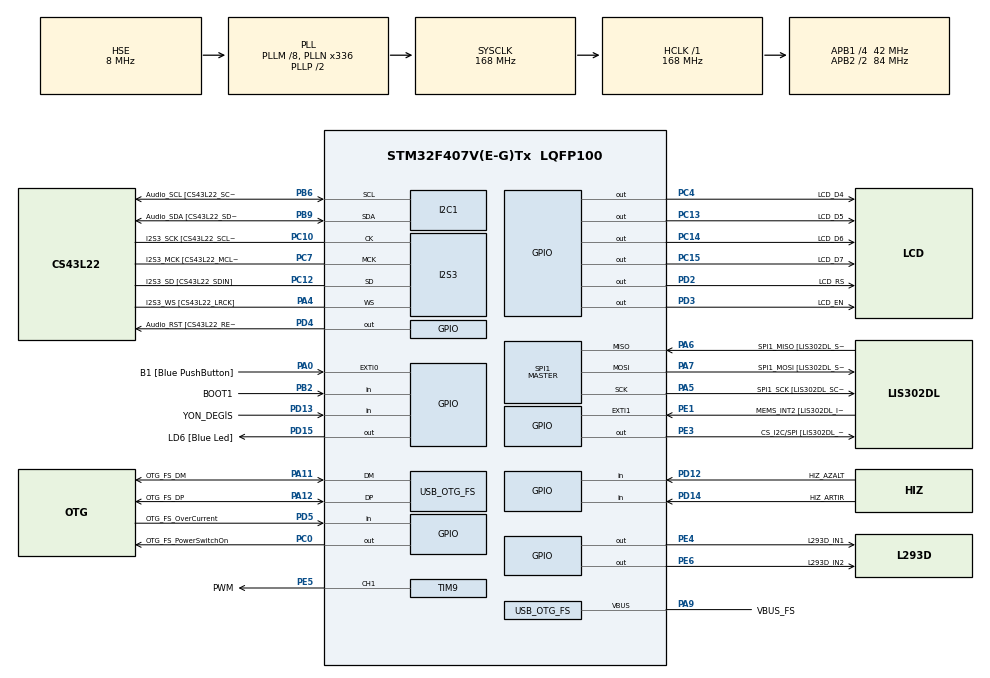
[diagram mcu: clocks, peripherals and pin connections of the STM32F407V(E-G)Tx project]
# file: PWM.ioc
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I2S3.AudioFreq-Half_Duplex_Master=I2S_AUDIOFREQ_96K
I2S3.ErrorAudioFreq=-2.34 %
I2S3.ErrorAudioFreq-Half_Duplex_Master=0.8 %
I2S3.FullDuplexMode=I2S_FULLDUPLEXMODE_DISABLE
I2S3.Instance=SPI$Index
I2S3.RealAudioFreq=93.75 KHz
I2S3.RealAudioFreq-Half_Duplex_Master=96.774 KHz
I2S3.VirtualMode=I2S_MODE_MASTER
Mcu.Family=STM32F4
Mcu.Name=STM32F407V(E-G)Tx
Mcu.Package=LQFP100
NVIC.OTG_FS_IRQn=true\:0\:0\:false\:false\:true\:true\:true\:true
NVIC.PriorityGroup=NVIC_PRIORITYGROUP_0
PA0-WKUP.GPIO_Label=B1 [Blue PushButton]
PA0-WKUP.GPIO_ModeDefaultEXTI=GPIO_MODE_EVT_RISING
PA0-WKUP.GPIO_PuPd=GPIO_NOPULL
PA0-WKUP.Signal=GPXTI0
PA10.GPIO_Label=OTG_FS_ID
PA10.GPIO_Mode=GPIO_MODE_AF_PP
PA10.GPIO_PuPd=GPIO_NOPULL
PA10.GPIO_Speed=GPIO_SPEED_FREQ_LOW
PA10.Signal=USB_OTG_FS_ID
PA11.GPIO_Label=OTG_FS_DM
PA11.GPIO_Mode=GPIO_MODE_AF_PP
PA11.GPIO_PuPd=GPIO_NOPULL
PA11.GPIO_Speed=GPIO_SPEED_FREQ_LOW
PA11.Mode=Host_Only
PA11.Signal=USB_OTG_FS_DM
PA12.GPIO_Label=OTG_FS_DP
PA12.GPIO_Mode=GPIO_MODE_AF_PP
PA12.GPIO_PuPd=GPIO_NOPULL
PA12.GPIO_Speed=GPIO_SPEED_FREQ_LOW
PA12.Mode=Host_Only
PA12.Signal=USB_OTG_FS_DP
PA13.GPIO_Label=SWDIO
PA13.Mode=Serial_Wire
PA13.Signal=SYS_JTMS-SWDIO
PA14.GPIO_Label=SWCLK
PA14.Mode=Serial_Wire
PA14.Signal=SYS_JTCK-SWCLK
PA4.GPIO_Label=I2S3_WS [CS43L22_LRCK]
PA4.GPIO_Mode=GPIO_MODE_AF_PP
PA4.GPIO_PuPd=GPIO_NOPULL
PA4.GPIO_Speed=GPIO_SPEED_FREQ_LOW
PA4.Mode=Half_Duplex_Master
PA4.Signal=I2S3_WS
PA5.GPIO_Label=SPI1_SCK [LIS302DL_SCL/SPC]
PA5.GPIO_Mode=GPIO_MODE_AF_PP
PA5.GPIO_PuPd=GPIO_NOPULL
PA5.GPIO_Speed=GPIO_SPEED_FREQ_LOW
PA5.Mode=Full_Duplex_Master
PA5.Signal=SPI1_SCK
PA6.GPIO_Label=SPI1_MISO [LIS302DL_SDO]
PA6.GPIO_Mode=GPIO_MODE_AF_PP
PA6.GPIO_PuPd=GPIO_NOPULL
PA6.GPIO_Speed=GPIO_SPEED_FREQ_LOW
PA6.Mode=Full_Duplex_Master
PA6.Signal=SPI1_MISO
PA7.GPIO_Label=SPI1_MOSI [LIS302DL_SDA/SDI/SDO]
PA7.GPIO_Mode=GPIO_MODE_AF_PP
PA7.GPIO_PuPd=GPIO_NOPULL
PA7.GPIO_Speed=GPIO_SPEED_FREQ_LOW
PA7.Mode=Full_Duplex_Master
PA7.Signal=SPI1_MOSI
PA9.GPIO_Label=VBUS_FS
PA9.GPIO_Mode=GPIO_MODE_INPUT
PA9.GPIO_PuPd=GPIO_NOPULL
PA9.Mode=Activate_VBUS
PA9.Signal=USB_OTG_FS_VBUS
PB10.GPIO_Label=CLK_IN [MP45DT02_CLK]
PB10.GPIO_Mode=GPIO_MODE_AF_PP
PB10.GPIO_PuPd=GPIO_NOPULL
PB10.GPIO_Speed=GPIO_SPEED_FREQ_LOW
PB10.Signal=I2S2_CK
PB2.GPIO_Label=BOOT1
PB2.GPIO_Mode=GPIO_MODE_INPUT
PB2.GPIO_PuPd=GPIO_NOPULL
PB2.Signal=GPIO_Input
PB3.GPIO_Label=SWO
PB3.Signal=SYS_JTDO-SWO
PB6.GPIO_Label=Audio_SCL [CS43L22_SCL]
PB6.GPIO_Mode=GPIO_MODE_AF_OD
PB6.GPIO_Pu=GPIO_PULLUP
PB6.GPIO_PuPd=GPIO_NOPULL
PB6.GPIO_Speed=GPIO_SPEED_FREQ_LOW
PB6.Mode=I2C
PB6.Signal=I2C1_SCL
PB9.GPIO_Label=Audio_SDA [CS43L22_SDA]
PB9.GPIO_Mode=GPIO_MODE_AF_OD
PB9.GPIO_Pu=GPIO_PULLUP
PB9.GPIO_PuPd=GPIO_NOPULL
PB9.GPIO_Speed=GPIO_SPEED_FREQ_LOW
PB9.Mode=I2C
PB9.Signal=I2C1_SDA
PC0.GPIO_Label=OTG_FS_PowerSwitchOn
PC0.GPIO_PuPd=GPIO_NOPULL
PC0.GPIO_Speed=GPIO_SPEED_FREQ_LOW
PC0.PinState=GPIO_PIN_SET
PC0.Signal=GPIO_Output
PC10.GPIO_Label=I2S3_SCK [CS43L22_SCLK]
PC10.GPIO_Mode=GPIO_MODE_AF_PP
PC10.GPIO_PuPd=GPIO_NOPULL
PC10.GPIO_Speed=GPIO_SPEED_FREQ_LOW
PC10.Mode=Half_Duplex_Master
PC10.Signal=I2S3_CK
PC12.GPIO_Label=I2S3_SD [CS43L22_SDIN]
PC12.GPIO_Mode=GPIO_MODE_AF_PP
PC12.GPIO_PuPd=GPIO_NOPULL
PC12.GPIO_Speed=GPIO_SPEED_FREQ_LOW
PC12.Mode=Half_Duplex_Master
PC12.Signal=I2S3_SD
PC13-ANTI_TAMP.GPIO_Label=LCD_D5
PC13-ANTI_TAMP.Signal=GPIO_Output
PC14-OSC32_IN.GPIO_Label=LCD_D6
PC14-OSC32_IN.Signal=GPIO_Output
PC15-OSC32_OUT.GPIO_Label=LCD_D7
PC15-OSC32_OUT.Signal=GPIO_Output
PC3.GPIO_Label=PDM_OUT [MP45DT02_DOUT]
PC3.GPIO_Mode=GPIO_MODE_AF_PP
PC3.GPIO_PuPd=GPIO_NOPULL
PC3.GPIO_Speed=GPIO_SPEED_FREQ_LOW
PC3.Signal=I2S2_SD
PC4.GPIO_Label=LCD_D4
PC4.Signal=GPIO_Output
PC7.GPIO_Label=I2S3_MCK [CS43L22_MCLK]
PC7.GPIO_Mode=GPIO_MODE_AF_PP
PC7.GPIO_PuPd=GPIO_NOPULL
PC7.GPIO_Speed=GPIO_SPEED_FREQ_LOW
PC7.Mode=Master_Clock_Activated
PC7.Signal=I2S3_MCK
PD12.GPIO_Label=HIZ_AZALT
PD12.Signal=GPIO_Input
PD13.GPIO_Label=YON_DEG\u0130S
PD13.Signal=GPIO_Input
PD14.GPIO_Label=HIZ_ARTIR
PD14.Signal=GPIO_Input
PD15.GPIO_Label=LD6 [Blue Led]
PD15.GPIO_PuPd=GPIO_NOPULL
PD15.GPIO_Speed=GPIO_SPEED_FREQ_LOW
PD15.Signal=GPIO_Output
PD2.GPIO_Label=LCD_RS
PD2.Signal=GPIO_Output
PD3.GPIO_Label=LCD_EN
PD3.Signal=GPIO_Output
PD4.GPIO_Label=Audio_RST [CS43L22_RESET]
PD4.GPIO_PuPd=GPIO_NOPULL
PD4.GPIO_Speed=GPIO_SPEED_FREQ_LOW
PD4.Signal=GPIO_Output
PD5.GPIO_Label=OTG_FS_OverCurrent
PD5.GPIO_Mode=GPIO_MODE_INPUT
PD5.GPIO_PuPd=GPIO_NOPULL
PD5.Signal=GPIO_Input
PE1.GPIO_Label=MEMS_INT2 [LIS302DL_INT2]
PE1.GPIO_ModeDefaultEXTI=GPIO_MODE_EVT_RISING
PE1.GPIO_PuPd=GPIO_NOPULL
PE1.Signal=GPXTI1
PE3.GPIO_Label=CS_I2C/SPI [LIS302DL_CS_I2C/SPI]
PE3.GPIO_PuPd=GPIO_NOPULL
PE3.GPIO_Speed=GPIO_SPEED_FREQ_LOW
PE3.Signal=GPIO_Output
PE4.GPIO_Label=L293D_IN1
PE4.Signal=GPIO_Output
PE5.GPIO_Label=PWM
PE5.Signal=S_TIM9_CH1
PE6.GPIO_Label=L293D_IN2
PE6.Signal=GPIO_Output
PH0-OSC_IN.GPIO_Label=PH0-OSC_IN
PH0-OSC_IN.Mode=HSE-External-Oscillator
PH0-OSC_IN.Signal=RCC_OSC_IN
PH1-OSC_OUT.GPIO_Label=PH1-OSC_OUT
PH1-OSC_OUT.Mode=HSE-External-Oscillator
PH1-OSC_OUT.Signal=RCC_OSC_OUT
ProjectManager.HeapSize=0x200
ProjectManager.StackSize=0x400
ProjectManager.TargetToolchain=STM32CubeIDE
RCC.48MHZClocksFreq_Value=48000000
RCC.AHBFreq_Value=168000000
RCC.APB1CLKDivider=RCC_HCLK_DIV4
RCC.APB1Freq_Value=42000000
RCC.APB1TimFreq_Value=84000000
RCC.APB2CLKDivider=RCC_HCLK_DIV2
RCC.APB2Freq_Value=84000000
RCC.APB2TimFreq_Value=168000000
RCC.CortexFreq_Value=168000000
RCC.HCLKFreq_Value=168000000
RCC.HSE_VALUE=8000000
RCC.HSI_VALUE=16000000
RCC.PLLM=8
RCC.PLLN=336
RCC.PLLQ=7
RCC.SYSCLKFreq_VALUE=168000000
RCC.SYSCLKSource=RCC_SYSCLKSOURCE_PLLCLK
RCC.VCOOutputFreq_Value=336000000
SH.S_TIM9_CH1.0=TIM9_CH1,PWM Generation1 CH1
SPI1.BaudRatePrescaler-Full_Duplex_Master=SPI_BAUDRATEPRESCALER_2
SPI1.CalculateBaudRate-Full_Duplex_Master=42.0 MBits/s
SPI1.Direction=SPI_DIRECTION_2LINES
SPI1.Mode=SPI_MODE_MASTER
SPI1.Mode-Full_Duplex_Master=SPI_MODE_MASTER
SPI1.VirtualType=VM_MASTER
TIM9.Channel-PWM\ Generation1\ CH1=TIM_CHANNEL_1
TIM9.Period=200-1
TIM9.Prescaler=168-1
USB_HOST.BSP.number=1
USB_HOST.USBH_HandleTypeDef-CDC_FS=hUsbHostFS
USB_HOST.VirtualModeFS=Cdc
USB_HOST0.BSP.STBoard=false
USB_HOST0.BSP.api=Unknown
USB_HOST0.BSP.instance=PC0
USB_HOST0.BSP.ip=GPIO
USB_HOST0.BSP.mode=Output
USB_HOST0.BSP.name=Drive_VBUS_FS
USB_HOST0.BSP.solution=PC0
USB_OTG_FS.VirtualMode=Host_Only
USB_OTG_FS.phy_itface=HCD_PHY_EMBEDDED
VP_TIM9_VS_ClockSourceINT.Mode=Internal
VP_USB_HOST_VS_USB_HOST_CDC_FS.Mode=CDC_FS
board=STM32F407G-DISC1

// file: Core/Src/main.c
/* USER CODE BEGIN Header */
/**
  ******************************************************************************
  * @file           : main.c
  * @brief          : Main program body
  ******************************************************************************
  * @attention
  *
  * Copyright (c) 2026 STMicroelectronics.
  * All rights reserved.
  *
  * This software is licensed under terms that can be found in the LICENSE file
  * in the root directory of this software component.
  * If no LICENSE file comes with this software, it is provided AS-IS.
  *
  ******************************************************************************
  */
/* USER CODE END Header */
#include "main.h"
#include "usb_host.h"
#include <stdio.h>
#include "lcd.h"

I2C_HandleTypeDef hi2c1;

I2S_HandleTypeDef hi2s3;

SPI_HandleTypeDef hspi1;

TIM_HandleTypeDef htim9;

/* USER CODE BEGIN PV */
int hiz_pwm = 0; // PWM Duty Cycle Değeri (0-199 arası)
int hiz_yuzde = 0; // Ekranda gösterilecek % değer
int yon = 1; // 1: İleri (CW), 0: Geri (CCW)
char lcd_buffer[20]; // LCD mesaj kutusu
/* USER CODE END PV */

void SystemClock_Config(void);
static void MX_GPIO_Init(void);
static void MX_I2C1_Init(void);
static void MX_I2S3_Init(void);
static void MX_SPI1_Init(void);
static void MX_TIM9_Init(void);
void MX_USB_HOST_Process(void);

/* USER CODE BEGIN PFP */
// Fonksiyon prototiplerini buraya ekledik ki derleyici main içinde gördüğünde tanısın
void Motor_Ileri(void);
void Motor_Geri(void);
/* USER CODE END PFP */

int main(void)
{

  /* MCU Configuration--------------------------------------------------------*/

  /* Reset of all peripherals, Initializes the Flash interface and the Systick. */
  HAL_Init();

  /* Configure the system clock */
  SystemClock_Config();

  /* Initialize all configured peripherals */
  MX_GPIO_Init();
  MX_I2C1_Init();
  MX_I2S3_Init();
  MX_SPI1_Init();
  MX_USB_HOST_Init();
  MX_TIM9_Init();
  /* USER CODE BEGIN 2 */
   // --- SİSTEM BAŞLANGIÇ AYARLARI ---
   Lcd_Init();
   Lcd_String("DC MOTOR KONTROL");
   HAL_Delay(1000);
   Lcd_Clear();

   // PWM Sinyalini Başlat (TIM9, Kanal 1)
   HAL_TIM_PWM_Start(&htim9, TIM_CHANNEL_1);

   // Varsayılan olarak motoru İleri yönde hazırla
   Motor_Ileri();
   /* USER CODE END 2 */

  /* Infinite loop */
   /* USER CODE BEGIN WHILE */
   while (1)
   {
   // --- 1. BUTON OKUMA VE KONTROL ---

   // HIZ ARTIRMA (PD14 - Sağ Tuş)
   if (HAL_GPIO_ReadPin(GPIOD, GPIO_PIN_14) == GPIO_PIN_SET)
   {
   if (hiz_pwm < 200) hiz_pwm += 20; // Hızı artır (Adım: 20)
   HAL_Delay(200); // Buton arkını önlemek için bekleme
   }
   // HIZ AZALTMA (PD12 - Sol Tuş)
   if (HAL_GPIO_ReadPin(GPIOD, GPIO_PIN_12) == GPIO_PIN_SET)
   {
   if (hiz_pwm > 0) hiz_pwm -= 20; // Hızı azalt
   HAL_Delay(200);
   }
   // YÖN DEĞİŞTİRME (PD13 - Yukarı Tuş)
   if (HAL_GPIO_ReadPin(GPIOD, GPIO_PIN_13) == GPIO_PIN_SET)
   {
   yon = !yon; // Yönü tersine çevir (Toggle)

   if (yon == 1) Motor_Ileri();
   else Motor_Geri();

   HAL_Delay(300); // Yön değişimi için bekleme süresi
   }
   // --- 2. MOTOR SÜRME VE EKRAN GÜNCELLEME ---
   // Hesaplanan PWM değerini Timer'ın CCR registerına yaz
   __HAL_TIM_SET_COMPARE(&htim9, TIM_CHANNEL_1, hiz_pwm);
   // PWM değerini (0-200) Yüzdeye (%0-100) çevir
   hiz_yuzde = (hiz_pwm * 100) / 200;
   // LCD Ekrana Durumu Yaz
   Lcd_Set_Cursor(0, 0);
   if (yon == 1) Lcd_String("YON: ILERI (CW) ");
   else Lcd_String("YON: GERI (CCW) ");
   Lcd_Set_Cursor(1, 0);

   // HATA BURADAYDI: "kullanılır" kelimesi alt satıra düşmüştü, yanına çektik.
   sprintf(lcd_buffer, "HIZ: %%%d ", hiz_yuzde); // "%" karakteri için "%%" kullanılır

   Lcd_String(lcd_buffer);
   HAL_Delay(50); // Döngü kararlılığı için kısa bekleme

   /* USER CODE END WHILE */
   }

    MX_USB_HOST_Process();

  }

void SystemClock_Config(void)
{
  RCC_OscInitTypeDef RCC_OscInitStruct = {0};
  RCC_ClkInitTypeDef RCC_ClkInitStruct = {0};

  /** Configure the main internal regulator output voltage
  */
  __HAL_RCC_PWR_CLK_ENABLE();
  __HAL_PWR_VOLTAGESCALING_CONFIG(PWR_REGULATOR_VOLTAGE_SCALE1);

  /** Initializes the RCC Oscillators according to the specified parameters
  * in the RCC_OscInitTypeDef structure.
  */
  RCC_OscInitStruct.OscillatorType = RCC_OSCILLATORTYPE_HSE;
  RCC_OscInitStruct.HSEState = RCC_HSE_ON;
  RCC_OscInitStruct.PLL.PLLState = RCC_PLL_ON;
  RCC_OscInitStruct.PLL.PLLSource = RCC_PLLSOURCE_HSE;
  RCC_OscInitStruct.PLL.PLLM = 8;
  RCC_OscInitStruct.PLL.PLLN = 336;
  RCC_OscInitStruct.PLL.PLLP = RCC_PLLP_DIV2;
  RCC_OscInitStruct.PLL.PLLQ = 7;
  if (HAL_RCC_OscConfig(&RCC_OscInitStruct) != HAL_OK)
  {
    Error_Handler();
  }

  /** Initializes the CPU, AHB and APB buses clocks
  */
  RCC_ClkInitStruct.ClockType = RCC_CLOCKTYPE_HCLK|RCC_CLOCKTYPE_SYSCLK
                              |RCC_CLOCKTYPE_PCLK1|RCC_CLOCKTYPE_PCLK2;
  RCC_ClkInitStruct.SYSCLKSource = RCC_SYSCLKSOURCE_PLLCLK;
  RCC_ClkInitStruct.AHBCLKDivider = RCC_SYSCLK_DIV1;
  RCC_ClkInitStruct.APB1CLKDivider = RCC_HCLK_DIV4;
  RCC_ClkInitStruct.APB2CLKDivider = RCC_HCLK_DIV2;

  if (HAL_RCC_ClockConfig(&RCC_ClkInitStruct, FLASH_LATENCY_5) != HAL_OK)
  {
    Error_Handler();
  }
}

static void MX_I2C1_Init(void)
{

  hi2c1.Instance = I2C1;
  hi2c1.Init.ClockSpeed = 100000;
  hi2c1.Init.DutyCycle = I2C_DUTYCYCLE_2;
  hi2c1.Init.OwnAddress1 = 0;
  hi2c1.Init.AddressingMode = I2C_ADDRESSINGMODE_7BIT;
  hi2c1.Init.DualAddressMode = I2C_DUALADDRESS_DISABLE;
  hi2c1.Init.OwnAddress2 = 0;
  hi2c1.Init.GeneralCallMode = I2C_GENERALCALL_DISABLE;
  hi2c1.Init.NoStretchMode = I2C_NOSTRETCH_DISABLE;
  if (HAL_I2C_Init(&hi2c1) != HAL_OK)
  {
    Error_Handler();
  }

}

static void MX_I2S3_Init(void)
{

  hi2s3.Instance = SPI3;
  hi2s3.Init.Mode = I2S_MODE_MASTER_TX;
  hi2s3.Init.Standard = I2S_STANDARD_PHILIPS;
  hi2s3.Init.DataFormat = I2S_DATAFORMAT_16B;
  hi2s3.Init.MCLKOutput = I2S_MCLKOUTPUT_ENABLE;
  hi2s3.Init.AudioFreq = I2S_AUDIOFREQ_96K;
  hi2s3.Init.CPOL = I2S_CPOL_LOW;
  hi2s3.Init.ClockSource = I2S_CLOCK_PLL;
  hi2s3.Init.FullDuplexMode = I2S_FULLDUPLEXMODE_DISABLE;
  if (HAL_I2S_Init(&hi2s3) != HAL_OK)
  {
    Error_Handler();
  }

}

static void MX_SPI1_Init(void)
{

  /* SPI1 parameter configuration*/
  hspi1.Instance = SPI1;
  hspi1.Init.Mode = SPI_MODE_MASTER;
  hspi1.Init.Direction = SPI_DIRECTION_2LINES;
  hspi1.Init.DataSize = SPI_DATASIZE_8BIT;
  hspi1.Init.CLKPolarity = SPI_POLARITY_LOW;
  hspi1.Init.CLKPhase = SPI_PHASE_1EDGE;
  hspi1.Init.NSS = SPI_NSS_SOFT;
  hspi1.Init.BaudRatePrescaler = SPI_BAUDRATEPRESCALER_2;
  hspi1.Init.FirstBit = SPI_FIRSTBIT_MSB;
  hspi1.Init.TIMode = SPI_TIMODE_DISABLE;
  hspi1.Init.CRCCalculation = SPI_CRCCALCULATION_DISABLE;
  hspi1.Init.CRCPolynomial = 10;
  if (HAL_SPI_Init(&hspi1) != HAL_OK)
  {
    Error_Handler();
  }

}

static void MX_TIM9_Init(void)
{

  TIM_ClockConfigTypeDef sClockSourceConfig = {0};
  TIM_OC_InitTypeDef sConfigOC = {0};

  htim9.Instance = TIM9;
  htim9.Init.Prescaler = 168-1;
  htim9.Init.CounterMode = TIM_COUNTERMODE_UP;
  htim9.Init.Period = 200-1;
  htim9.Init.ClockDivision = TIM_CLOCKDIVISION_DIV1;
  htim9.Init.AutoReloadPreload = TIM_AUTORELOAD_PRELOAD_DISABLE;
  if (HAL_TIM_Base_Init(&htim9) != HAL_OK)
  {
    Error_Handler();
  }
  sClockSourceConfig.ClockSource = TIM_CLOCKSOURCE_INTERNAL;
  if (HAL_TIM_ConfigClockSource(&htim9, &sClockSourceConfig) != HAL_OK)
  {
    Error_Handler();
  }
  if (HAL_TIM_PWM_Init(&htim9) != HAL_OK)
  {
    Error_Handler();
  }
  sConfigOC.OCMode = TIM_OCMODE_PWM1;
  sConfigOC.Pulse = 0;
  sConfigOC.OCPolarity = TIM_OCPOLARITY_HIGH;
  sConfigOC.OCFastMode = TIM_OCFAST_DISABLE;
  if (HAL_TIM_PWM_ConfigChannel(&htim9, &sConfigOC, TIM_CHANNEL_1) != HAL_OK)
  {
    Error_Handler();
  }
  HAL_TIM_MspPostInit(&htim9);

}

static void MX_GPIO_Init(void)
{
  GPIO_InitTypeDef GPIO_InitStruct = {0};

  /* GPIO Ports Clock Enable */
  __HAL_RCC_GPIOE_CLK_ENABLE();
  __HAL_RCC_GPIOC_CLK_ENABLE();
  __HAL_RCC_GPIOH_CLK_ENABLE();
  __HAL_RCC_GPIOA_CLK_ENABLE();
  __HAL_RCC_GPIOB_CLK_ENABLE();
  __HAL_RCC_GPIOD_CLK_ENABLE();

  /*Configure GPIO pin Output Level */
  HAL_GPIO_WritePin(GPIOE, CS_I2C_SPI_Pin|L293D_IN1_Pin|L293D_IN2_Pin, GPIO_PIN_RESET);

  /*Configure GPIO pin Output Level */
  HAL_GPIO_WritePin(GPIOC, LCD_D5_Pin|LCD_D6_Pin|LCD_D7_Pin|LCD_D4_Pin, GPIO_PIN_RESET);

  /*Configure GPIO pin Output Level */
  HAL_GPIO_WritePin(OTG_FS_PowerSwitchOn_GPIO_Port, OTG_FS_PowerSwitchOn_Pin, GPIO_PIN_SET);

  /*Configure GPIO pin Output Level */
  HAL_GPIO_WritePin(GPIOD, LD6_Pin|LCD_RS_Pin|LCD_EN_Pin|Audio_RST_Pin, GPIO_PIN_RESET);

  /*Configure GPIO pins : CS_I2C_SPI_Pin L293D_IN1_Pin L293D_IN2_Pin */
  GPIO_InitStruct.Pin = CS_I2C_SPI_Pin|L293D_IN1_Pin|L293D_IN2_Pin;
  GPIO_InitStruct.Mode = GPIO_MODE_OUTPUT_PP;
  GPIO_InitStruct.Pull = GPIO_NOPULL;
  GPIO_InitStruct.Speed = GPIO_SPEED_FREQ_LOW;
  HAL_GPIO_Init(GPIOE, &GPIO_InitStruct);

  /*Configure GPIO pins : LCD_D5_Pin LCD_D6_Pin LCD_D7_Pin OTG_FS_PowerSwitchOn_Pin
                           LCD_D4_Pin */
  GPIO_InitStruct.Pin = LCD_D5_Pin|LCD_D6_Pin|LCD_D7_Pin|OTG_FS_PowerSwitchOn_Pin
                          |LCD_D4_Pin;
  GPIO_InitStruct.Mode = GPIO_MODE_OUTPUT_PP;
  GPIO_InitStruct.Pull = GPIO_NOPULL;
  GPIO_InitStruct.Speed = GPIO_SPEED_FREQ_LOW;
  HAL_GPIO_Init(GPIOC, &GPIO_InitStruct);

  /*Configure GPIO pin : PDM_OUT_Pin */
  GPIO_InitStruct.Pin = PDM_OUT_Pin;
  GPIO_InitStruct.Mode = GPIO_MODE_AF_PP;
  GPIO_InitStruct.Pull = GPIO_NOPULL;
  GPIO_InitStruct.Speed = GPIO_SPEED_FREQ_LOW;
  GPIO_InitStruct.Alternate = GPIO_AF5_SPI2;
  HAL_GPIO_Init(PDM_OUT_GPIO_Port, &GPIO_InitStruct);

  /*Configure GPIO pin : B1_Pin */
  GPIO_InitStruct.Pin = B1_Pin;
  GPIO_InitStruct.Mode = GPIO_MODE_EVT_RISING;
  GPIO_InitStruct.Pull = GPIO_NOPULL;
  HAL_GPIO_Init(B1_GPIO_Port, &GPIO_InitStruct);

  /*Configure GPIO pin : BOOT1_Pin */
  GPIO_InitStruct.Pin = BOOT1_Pin;
  GPIO_InitStruct.Mode = GPIO_MODE_INPUT;
  GPIO_InitStruct.Pull = GPIO_NOPULL;
  HAL_GPIO_Init(BOOT1_GPIO_Port, &GPIO_InitStruct);

  /*Configure GPIO pin : CLK_IN_Pin */
  GPIO_InitStruct.Pin = CLK_IN_Pin;
  GPIO_InitStruct.Mode = GPIO_MODE_AF_PP;
  GPIO_InitStruct.Pull = GPIO_NOPULL;
  GPIO_InitStruct.Speed = GPIO_SPEED_FREQ_LOW;
  GPIO_InitStruct.Alternate = GPIO_AF5_SPI2;
  HAL_GPIO_Init(CLK_IN_GPIO_Port, &GPIO_InitStruct);

  /*Configure GPIO pins : HIZ_AZALT_Pin YON_DEG_S_Pin HIZ_ARTIR_Pin OTG_FS_OverCurrent_Pin */
  GPIO_InitStruct.Pin = HIZ_AZALT_Pin|YON_DEG_S_Pin|HIZ_ARTIR_Pin|OTG_FS_OverCurrent_Pin;
  GPIO_InitStruct.Mode = GPIO_MODE_INPUT;
  GPIO_InitStruct.Pull = GPIO_NOPULL;
  HAL_GPIO_Init(GPIOD, &GPIO_InitStruct);

  /*Configure GPIO pins : LD6_Pin LCD_RS_Pin LCD_EN_Pin Audio_RST_Pin */
  GPIO_InitStruct.Pin = LD6_Pin|LCD_RS_Pin|LCD_EN_Pin|Audio_RST_Pin;
  GPIO_InitStruct.Mode = GPIO_MODE_OUTPUT_PP;
  GPIO_InitStruct.Pull = GPIO_NOPULL;
  GPIO_InitStruct.Speed = GPIO_SPEED_FREQ_LOW;
  HAL_GPIO_Init(GPIOD, &GPIO_InitStruct);

  /*Configure GPIO pin : MEMS_INT2_Pin */
  GPIO_InitStruct.Pin = MEMS_INT2_Pin;
  GPIO_InitStruct.Mode = GPIO_MODE_EVT_RISING;
  GPIO_InitStruct.Pull = GPIO_NOPULL;
  HAL_GPIO_Init(MEMS_INT2_GPIO_Port, &GPIO_InitStruct);

}

/* USER CODE BEGIN 4 */
// Motoru İleri Yönde Döndür (IN1=1, IN2=0)
void Motor_Ileri(void)
{
 HAL_GPIO_WritePin(GPIOE, GPIO_PIN_4, GPIO_PIN_SET); // IN1 High
 HAL_GPIO_WritePin(GPIOE, GPIO_PIN_6, GPIO_PIN_RESET); // IN2 Low
}
// Motoru Geri Yönde Döndür (IN1=0, IN2=1)
void Motor_Geri(void)
{
 HAL_GPIO_WritePin(GPIOE, GPIO_PIN_4, GPIO_PIN_RESET); // IN1 Low
 HAL_GPIO_WritePin(GPIOE, GPIO_PIN_6, GPIO_PIN_SET); // IN2 High
}
/* USER CODE END 4 */

void Error_Handler(void)
{
  __disable_irq();
  while (1)
  {
  }
}
